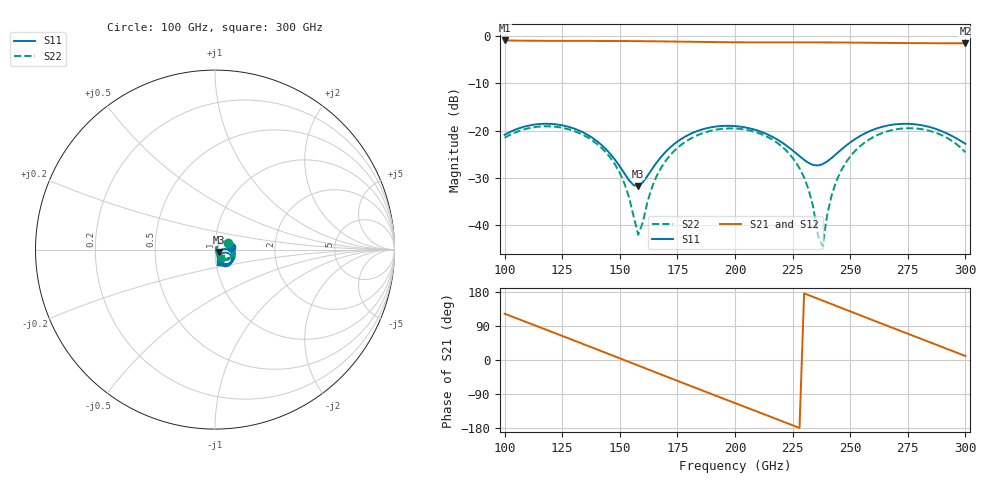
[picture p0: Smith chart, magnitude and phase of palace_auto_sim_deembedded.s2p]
! Created with skrf 1.11.0 (http://scikit-rf.org).
# GHz S DB R 50.0
!freq dBS11 angS11 dBS21 angS21 dBS12 angS12 dBS22 angS22
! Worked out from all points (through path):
!   101 points, 100 GHz to 300 GHz, reference 50 ohm
!   highest |S21| = -1.00 dB at 100 GHz (marker M1); lowest = -1.6 dB at 300 GHz (marker M2)
!   group delay of S21, straight-line fit = 6.55 ps
!   lowest |S11| = -31.7 dB at 158 GHz (marker M3), VSWR 1.05, Z = 52.3 - j1.33 ohm
!   |S11| at or under -10 dB: start of sweep to end of sweep
!   |S22| runs from -44.4 to -19.1 dB; largest |S21 - S12| = 1e-13
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100  -20.90 7.8  -1.00 122.1  -1.00 122.1  -21.53 27.2
116  -18.60 -23.5  -1.07 84.7  -1.07 84.7  -19.14 -3.6
134  -20.38 -58.1  -1.09 42.4  -1.09 42.4  -20.91 -39.8
144  -23.94 -71.5  -1.11 18.7  -1.11 18.7  -24.62 -58.4
150  -27.58 -70.4  -1.12 4.4  -1.12 4.4  -28.95 -66.1
154  -30.49 -57.5  -1.13 -5.1  -1.13 -5.1  -34.07 -63.9
158  -31.70 -29.2  -1.15 -14.6  -1.15 -14.6  -41.97 -14.2
164  -28.12 0.1  -1.17 -28.9  -1.17 -28.9  -31.93 53.1
168  -25.52 3.6  -1.20 -38.4  -1.20 -38.4  -27.78 51.6
184  -20.04 -14.5  -1.30 -76.2  -1.30 -76.2  -20.92 24.0
200  -19.06 -40.9  -1.38 -113.7  -1.38 -113.7  -19.58 -8.0
222  -23.06 -66.5  -1.41 -165.2  -1.41 -165.2  -24.10 -52.8
230  -26.18 -59.5  -1.41 175.9  -1.41 175.9  -29.92 -66.1
234  -27.28 -47.1  -1.41 166.4  -1.41 166.4  -36.25 -64.8
236  -27.37 -39.3  -1.41 161.6  -1.41 161.6  -42.17 -47.0
238  -27.10 -31.8  -1.41 156.9  -1.41 156.9  -44.39 25.9
242  -25.77 -20.5  -1.42 147.4  -1.42 147.4  -33.53 62.7
248  -23.27 -15.0  -1.44 133.1  -1.44 133.1  -26.83 56.8
256  -20.70 -19.7  -1.48 114.1  -1.48 114.1  -22.63 41.2
268  -18.79 -35.6  -1.53 85.8  -1.53 85.8  -19.93 15.5
282  -18.98 -55.9  -1.57 52.9  -1.57 52.9  -19.80 -15.0
300  -22.80 -68.2  -1.60 10.6  -1.60 10.6  -24.59 -53.5
